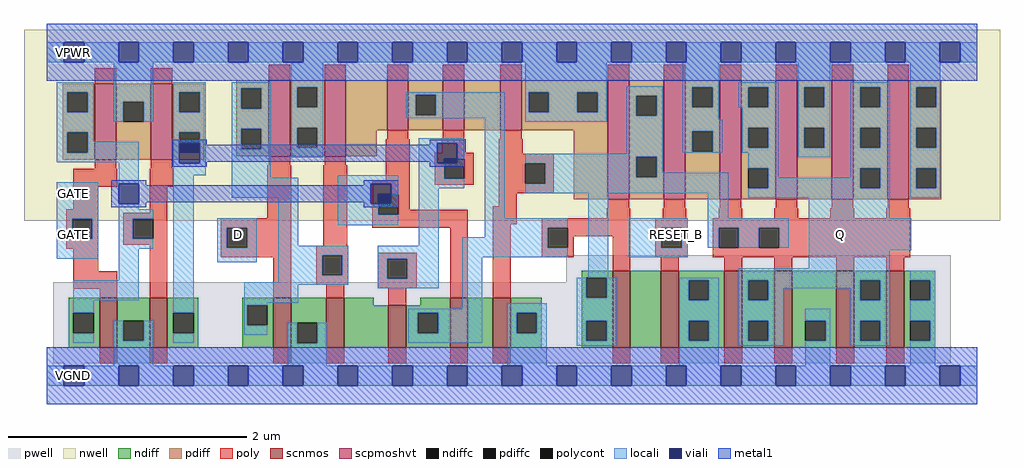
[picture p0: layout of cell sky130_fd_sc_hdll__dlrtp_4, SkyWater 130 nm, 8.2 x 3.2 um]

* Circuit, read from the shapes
.subckt sky130_fd_sc_hdll__dlrtp_4 D GATE RESET_B VGND VNB VPB VPWR Q
XM1 VGND GATE n1 VNB sky130_fd_pr__nfet_01v8 w=0.42 l=0.15
XM2 n2 n1 VGND VNB sky130_fd_pr__nfet_01v8 w=0.42 l=0.15
XM3 VGND D n3 VNB sky130_fd_pr__nfet_01v8 w=0.42 l=0.15
XM4 n4 n3 VGND VNB sky130_fd_pr__nfet_01v8 w=0.42 l=0.15
XM5 n5 n2 n4 VNB sky130_fd_pr__nfet_01v8 w=0.36 l=0.15
XM6 n6 n1 n5 VNB sky130_fd_pr__nfet_01v8 w=0.42 l=0.15
XM7 VGND n7 n6 VNB sky130_fd_pr__nfet_01v8 w=0.42 l=0.15
XM8 n8 n5 n7 VNB sky130_fd_pr__nfet_01v8 w=0.65 l=0.15
XM9 VGND RESET_B n8 VNB sky130_fd_pr__nfet_01v8 w=0.65 l=0.15
XM10 Q n7 VGND VNB sky130_fd_pr__nfet_01v8 w=0.65 l=0.15 m=4
XM11 VPWR GATE n1 VPB sky130_fd_pr__pfet_01v8_hvt w=0.64 l=0.18
XM12 n2 n1 VPWR VPB sky130_fd_pr__pfet_01v8_hvt w=0.64 l=0.18
XM13 VPWR D n3 VPB sky130_fd_pr__pfet_01v8_hvt w=0.64 l=0.18
XM14 n9 n3 VPWR VPB sky130_fd_pr__pfet_01v8_hvt w=0.64 l=0.18
XM15 n5 n1 n9 VPB sky130_fd_pr__pfet_01v8_hvt w=0.42 l=0.18
XM16 n10 n2 n5 VPB sky130_fd_pr__pfet_01v8_hvt w=0.42 l=0.18
XM17 VPWR n7 n10 VPB sky130_fd_pr__pfet_01v8_hvt w=0.42 l=0.18
XM18 n7 n5 VPWR VPB sky130_fd_pr__pfet_01v8_hvt w=1 l=0.18
XM19 VPWR RESET_B n7 VPB sky130_fd_pr__pfet_01v8_hvt w=1 l=0.18
XM20 Q n7 VPWR VPB sky130_fd_pr__pfet_01v8_hvt w=1 l=0.18 m=4
.ends

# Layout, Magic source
magic
tech sky130A
magscale 1 2
<< nwell >>
rect -38 261 1602 582
<< pwell >>
rect 873 157 1519 203
rect 11 21 1519 157
rect 29 -17 63 21
<< scnmos >>
rect 89 47 119 131
rect 173 47 203 131
rect 381 47 411 131
rect 470 47 500 131
rect 574 47 604 119
rect 678 47 708 131
rect 750 47 780 131
rect 951 47 981 177
rect 1032 47 1062 177
rect 1139 47 1169 177
rect 1223 47 1253 177
rect 1327 47 1357 177
rect 1411 47 1441 177
<< scpmoshvt >>
rect 81 363 117 491
rect 175 363 211 491
rect 373 369 409 497
rect 467 369 503 497
rect 572 413 608 497
rect 666 413 702 497
rect 762 413 798 497
rect 943 297 979 497
rect 1037 297 1073 497
rect 1131 297 1167 497
rect 1225 297 1261 497
rect 1319 297 1355 497
rect 1413 297 1449 497
<< ndiff >>
rect 37 106 89 131
rect 37 72 45 106
rect 79 72 89 106
rect 37 47 89 72
rect 119 93 173 131
rect 119 59 129 93
rect 163 59 173 93
rect 119 47 173 59
rect 203 106 255 131
rect 203 72 213 106
rect 247 72 255 106
rect 203 47 255 72
rect 329 119 381 131
rect 329 85 337 119
rect 371 85 381 119
rect 329 47 381 85
rect 411 89 470 131
rect 411 55 421 89
rect 455 55 470 89
rect 411 47 470 55
rect 500 119 550 131
rect 899 165 951 177
rect 899 131 907 165
rect 941 131 951 165
rect 628 119 678 131
rect 500 47 574 119
rect 604 106 678 119
rect 604 72 624 106
rect 658 72 678 106
rect 604 47 678 72
rect 708 47 750 131
rect 780 106 832 131
rect 780 72 790 106
rect 824 72 832 106
rect 780 47 832 72
rect 899 93 951 131
rect 899 59 907 93
rect 941 59 951 93
rect 899 47 951 59
rect 981 47 1032 177
rect 1062 161 1139 177
rect 1062 127 1079 161
rect 1113 127 1139 161
rect 1062 93 1139 127
rect 1062 59 1079 93
rect 1113 59 1139 93
rect 1062 47 1139 59
rect 1169 161 1223 177
rect 1169 127 1179 161
rect 1213 127 1223 161
rect 1169 93 1223 127
rect 1169 59 1179 93
rect 1213 59 1223 93
rect 1169 47 1223 59
rect 1253 93 1327 177
rect 1253 59 1275 93
rect 1309 59 1327 93
rect 1253 47 1327 59
rect 1357 161 1411 177
rect 1357 127 1367 161
rect 1401 127 1411 161
rect 1357 93 1411 127
rect 1357 59 1367 93
rect 1401 59 1411 93
rect 1357 47 1411 59
rect 1441 161 1493 177
rect 1441 127 1451 161
rect 1485 127 1493 161
rect 1441 93 1493 127
rect 1441 59 1451 93
rect 1485 59 1493 93
rect 1441 47 1493 59
<< pdiff >>
rect 27 477 81 491
rect 27 443 35 477
rect 69 443 81 477
rect 27 409 81 443
rect 27 375 35 409
rect 69 375 81 409
rect 27 363 81 375
rect 117 461 175 491
rect 117 427 129 461
rect 163 427 175 461
rect 117 363 175 427
rect 211 477 265 491
rect 211 443 223 477
rect 257 443 265 477
rect 211 409 265 443
rect 211 375 223 409
rect 257 375 265 409
rect 211 363 265 375
rect 319 483 373 497
rect 319 449 327 483
rect 361 449 373 483
rect 319 415 373 449
rect 319 381 327 415
rect 361 381 373 415
rect 319 369 373 381
rect 409 485 467 497
rect 409 451 421 485
rect 455 451 467 485
rect 409 417 467 451
rect 409 383 421 417
rect 455 383 467 417
rect 409 369 467 383
rect 503 413 572 497
rect 608 472 666 497
rect 608 438 620 472
rect 654 438 666 472
rect 608 413 666 438
rect 702 413 762 497
rect 798 477 943 497
rect 798 443 810 477
rect 844 443 892 477
rect 926 443 943 477
rect 798 413 943 443
rect 503 369 555 413
rect 886 297 943 413
rect 979 471 1037 497
rect 979 437 991 471
rect 1025 437 1037 471
rect 979 368 1037 437
rect 979 334 991 368
rect 1025 334 1037 368
rect 979 297 1037 334
rect 1073 485 1131 497
rect 1073 451 1085 485
rect 1119 451 1131 485
rect 1073 411 1131 451
rect 1073 377 1085 411
rect 1119 377 1131 411
rect 1073 297 1131 377
rect 1167 485 1225 497
rect 1167 451 1179 485
rect 1213 451 1225 485
rect 1167 417 1225 451
rect 1167 383 1179 417
rect 1213 383 1225 417
rect 1167 349 1225 383
rect 1167 315 1179 349
rect 1213 315 1225 349
rect 1167 297 1225 315
rect 1261 485 1319 497
rect 1261 451 1273 485
rect 1307 451 1319 485
rect 1261 417 1319 451
rect 1261 383 1273 417
rect 1307 383 1319 417
rect 1261 297 1319 383
rect 1355 485 1413 497
rect 1355 451 1367 485
rect 1401 451 1413 485
rect 1355 417 1413 451
rect 1355 383 1367 417
rect 1401 383 1413 417
rect 1355 349 1413 383
rect 1355 315 1367 349
rect 1401 315 1413 349
rect 1355 297 1413 315
rect 1449 485 1503 497
rect 1449 451 1461 485
rect 1495 451 1503 485
rect 1449 417 1503 451
rect 1449 383 1461 417
rect 1495 383 1503 417
rect 1449 349 1503 383
rect 1449 315 1461 349
rect 1495 315 1503 349
rect 1449 297 1503 315
<< ndiffc >>
rect 45 72 79 106
rect 129 59 163 93
rect 213 72 247 106
rect 337 85 371 119
rect 421 55 455 89
rect 907 131 941 165
rect 624 72 658 106
rect 790 72 824 106
rect 907 59 941 93
rect 1079 127 1113 161
rect 1079 59 1113 93
rect 1179 127 1213 161
rect 1179 59 1213 93
rect 1275 59 1309 93
rect 1367 127 1401 161
rect 1367 59 1401 93
rect 1451 127 1485 161
rect 1451 59 1485 93
<< pdiffc >>
rect 35 443 69 477
rect 35 375 69 409
rect 129 427 163 461
rect 223 443 257 477
rect 223 375 257 409
rect 327 449 361 483
rect 327 381 361 415
rect 421 451 455 485
rect 421 383 455 417
rect 620 438 654 472
rect 810 443 844 477
rect 892 443 926 477
rect 991 437 1025 471
rect 991 334 1025 368
rect 1085 451 1119 485
rect 1085 377 1119 411
rect 1179 451 1213 485
rect 1179 383 1213 417
rect 1179 315 1213 349
rect 1273 451 1307 485
rect 1273 383 1307 417
rect 1367 451 1401 485
rect 1367 383 1401 417
rect 1367 315 1401 349
rect 1461 451 1495 485
rect 1461 383 1495 417
rect 1461 315 1495 349
<< poly >>
rect 81 491 117 517
rect 175 491 211 517
rect 373 497 409 523
rect 467 497 503 523
rect 572 497 608 523
rect 666 497 702 523
rect 762 497 798 523
rect 943 497 979 523
rect 1037 497 1073 523
rect 1131 497 1167 523
rect 1225 497 1261 523
rect 1319 497 1355 523
rect 1413 497 1449 523
rect 572 398 608 413
rect 666 398 702 413
rect 762 398 798 413
rect 81 348 117 363
rect 175 348 211 363
rect 373 354 409 369
rect 467 354 503 369
rect 45 318 119 348
rect 173 318 213 348
rect 45 280 87 318
rect 33 264 87 280
rect 173 274 203 318
rect 33 230 43 264
rect 77 230 87 264
rect 33 214 87 230
rect 129 264 203 274
rect 371 265 411 354
rect 129 230 145 264
rect 179 230 203 264
rect 129 220 203 230
rect 45 176 87 214
rect 45 146 119 176
rect 89 131 119 146
rect 173 131 203 220
rect 293 249 411 265
rect 293 215 303 249
rect 337 215 411 249
rect 465 219 505 354
rect 570 327 610 398
rect 664 375 704 398
rect 547 305 610 327
rect 652 365 718 375
rect 652 331 668 365
rect 702 331 718 365
rect 652 321 718 331
rect 760 373 800 398
rect 760 357 852 373
rect 760 323 804 357
rect 838 323 852 357
rect 547 271 557 305
rect 591 279 610 305
rect 760 307 852 323
rect 760 285 790 307
rect 591 271 708 279
rect 547 249 708 271
rect 293 199 411 215
rect 381 131 411 199
rect 453 203 507 219
rect 453 169 463 203
rect 497 169 507 203
rect 453 153 507 169
rect 556 197 622 207
rect 556 163 572 197
rect 606 163 622 197
rect 470 131 500 153
rect 556 147 622 163
rect 574 119 604 147
rect 678 131 708 249
rect 750 255 790 285
rect 943 282 979 297
rect 1037 282 1073 297
rect 1131 282 1167 297
rect 1225 282 1261 297
rect 1319 282 1355 297
rect 1413 282 1449 297
rect 941 265 981 282
rect 1035 265 1075 282
rect 1129 265 1169 282
rect 1223 265 1263 282
rect 1317 265 1357 282
rect 1411 265 1451 282
rect 750 131 780 255
rect 832 249 981 265
rect 832 215 842 249
rect 876 235 981 249
rect 876 215 886 235
rect 832 199 886 215
rect 951 177 981 235
rect 1023 249 1077 265
rect 1023 215 1033 249
rect 1067 215 1077 249
rect 1023 199 1077 215
rect 1119 249 1451 265
rect 1119 215 1129 249
rect 1163 215 1197 249
rect 1231 215 1451 249
rect 1119 199 1451 215
rect 1032 177 1062 199
rect 1139 177 1169 199
rect 1223 177 1253 199
rect 1327 177 1357 199
rect 1411 177 1441 199
rect 89 21 119 47
rect 173 21 203 47
rect 381 21 411 47
rect 470 21 500 47
rect 574 21 604 47
rect 678 21 708 47
rect 750 21 780 47
rect 951 21 981 47
rect 1032 21 1062 47
rect 1139 21 1169 47
rect 1223 21 1253 47
rect 1327 21 1357 47
rect 1411 21 1441 47
<< polycont >>
rect 43 230 77 264
rect 145 230 179 264
rect 303 215 337 249
rect 668 331 702 365
rect 804 323 838 357
rect 557 271 591 305
rect 463 169 497 203
rect 572 163 606 197
rect 842 215 876 249
rect 1033 215 1067 249
rect 1129 215 1163 249
rect 1197 215 1231 249
<< locali >>
rect 0 527 29 561
rect 63 527 121 561
rect 155 527 213 561
rect 247 527 305 561
rect 339 527 397 561
rect 431 527 489 561
rect 523 527 581 561
rect 615 527 673 561
rect 707 527 765 561
rect 799 527 857 561
rect 891 527 949 561
rect 983 527 1041 561
rect 1075 527 1133 561
rect 1167 527 1225 561
rect 1259 527 1317 561
rect 1351 527 1409 561
rect 1443 527 1501 561
rect 1535 527 1564 561
rect 17 477 79 493
rect 17 443 35 477
rect 69 443 79 477
rect 17 409 79 443
rect 113 461 179 527
rect 113 427 129 461
rect 163 427 179 461
rect 213 477 267 493
rect 213 443 223 477
rect 257 443 267 477
rect 17 375 35 409
rect 69 393 79 409
rect 213 409 267 443
rect 69 375 155 393
rect 17 359 155 375
rect 17 264 87 325
rect 17 230 43 264
rect 77 230 87 264
rect 17 197 87 230
rect 121 323 155 359
rect 121 280 155 289
rect 213 357 223 409
rect 257 357 267 409
rect 213 337 267 357
rect 311 483 377 493
rect 311 449 327 483
rect 361 449 377 483
rect 311 415 377 449
rect 311 381 327 415
rect 361 381 377 415
rect 121 264 179 280
rect 121 230 145 264
rect 121 214 179 230
rect 121 161 155 214
rect 45 127 155 161
rect 45 106 79 127
rect 213 106 247 337
rect 311 333 377 381
rect 411 485 465 527
rect 411 451 421 485
rect 455 451 465 485
rect 804 477 941 527
rect 411 417 465 451
rect 604 472 770 477
rect 604 438 620 472
rect 654 438 770 472
rect 604 433 770 438
rect 411 383 421 417
rect 455 383 465 417
rect 411 367 465 383
rect 625 391 702 399
rect 625 357 656 391
rect 690 365 702 391
rect 311 299 423 333
rect 287 249 353 265
rect 287 215 303 249
rect 337 215 353 249
rect 287 191 353 215
rect 389 219 423 299
rect 489 323 591 337
rect 489 289 545 323
rect 579 305 591 323
rect 489 271 557 289
rect 489 253 591 271
rect 625 331 668 357
rect 625 315 702 331
rect 625 219 659 315
rect 736 265 770 433
rect 804 443 810 477
rect 844 443 892 477
rect 926 443 941 477
rect 804 427 941 443
rect 975 471 1035 487
rect 975 437 991 471
rect 1025 437 1035 471
rect 975 373 1035 437
rect 1069 485 1129 527
rect 1069 451 1085 485
rect 1119 451 1129 485
rect 1163 485 1229 493
rect 1163 451 1179 485
rect 1213 451 1229 485
rect 1069 430 1129 451
rect 1069 411 1135 430
rect 1069 377 1085 411
rect 1119 377 1135 411
rect 1069 375 1135 377
rect 1169 417 1229 451
rect 1169 383 1179 417
rect 1213 383 1229 417
rect 1169 375 1229 383
rect 804 368 1035 373
rect 804 357 991 368
rect 838 334 991 357
rect 1025 341 1035 368
rect 1179 349 1229 375
rect 1263 485 1317 527
rect 1263 451 1273 485
rect 1307 451 1317 485
rect 1263 417 1317 451
rect 1263 383 1273 417
rect 1307 383 1317 417
rect 1263 367 1317 383
rect 1351 485 1417 493
rect 1351 451 1367 485
rect 1401 451 1417 485
rect 1351 417 1417 451
rect 1351 383 1367 417
rect 1401 383 1417 417
rect 1025 334 1145 341
rect 838 323 1145 334
rect 804 307 1145 323
rect 736 249 876 265
rect 736 233 842 249
rect 389 203 507 219
rect 389 169 463 203
rect 497 169 507 203
rect 389 157 507 169
rect 45 56 79 72
rect 113 59 129 93
rect 163 59 179 93
rect 113 17 179 59
rect 213 56 247 72
rect 332 153 507 157
rect 556 197 659 219
rect 556 163 572 197
rect 606 163 659 197
rect 332 123 423 153
rect 556 147 659 163
rect 698 215 842 233
rect 698 199 876 215
rect 332 119 371 123
rect 332 85 337 119
rect 698 113 732 199
rect 910 165 944 307
rect 1111 265 1145 307
rect 1213 333 1229 349
rect 1351 349 1417 383
rect 1351 333 1367 349
rect 1213 315 1367 333
rect 1401 315 1417 349
rect 1179 299 1417 315
rect 1451 485 1502 527
rect 1451 451 1461 485
rect 1495 451 1502 485
rect 1451 417 1502 451
rect 1451 383 1461 417
rect 1495 383 1502 417
rect 1451 349 1502 383
rect 1451 315 1461 349
rect 1495 315 1502 349
rect 1451 299 1502 315
rect 1281 265 1417 299
rect 978 249 1077 265
rect 978 215 1033 249
rect 1067 215 1077 249
rect 1111 249 1247 265
rect 1111 215 1129 249
rect 1163 215 1197 249
rect 1231 215 1247 249
rect 978 199 1077 215
rect 1281 211 1453 265
rect 1281 181 1417 211
rect 891 131 907 165
rect 941 131 957 165
rect 608 106 732 113
rect 332 69 371 85
rect 405 55 421 89
rect 455 55 471 89
rect 608 72 624 106
rect 658 72 732 106
rect 608 56 732 72
rect 774 106 840 122
rect 774 72 790 106
rect 824 72 840 106
rect 405 17 471 55
rect 774 17 840 72
rect 891 93 957 131
rect 891 59 907 93
rect 941 59 957 93
rect 891 51 957 59
rect 1063 161 1129 165
rect 1063 127 1079 161
rect 1113 127 1129 161
rect 1063 93 1129 127
rect 1063 59 1079 93
rect 1113 59 1129 93
rect 1063 17 1129 59
rect 1163 161 1417 181
rect 1163 127 1179 161
rect 1213 147 1367 161
rect 1213 127 1239 147
rect 1163 93 1239 127
rect 1351 127 1367 147
rect 1401 127 1417 161
rect 1163 59 1179 93
rect 1213 59 1239 93
rect 1163 51 1239 59
rect 1275 93 1317 113
rect 1309 59 1317 93
rect 1275 17 1317 59
rect 1351 93 1417 127
rect 1351 59 1367 93
rect 1401 59 1417 93
rect 1351 51 1417 59
rect 1451 161 1493 177
rect 1485 127 1493 161
rect 1451 93 1493 127
rect 1485 59 1493 93
rect 1451 17 1493 59
rect 0 -17 29 17
rect 63 -17 121 17
rect 155 -17 213 17
rect 247 -17 305 17
rect 339 -17 397 17
rect 431 -17 489 17
rect 523 -17 581 17
rect 615 -17 673 17
rect 707 -17 765 17
rect 799 -17 857 17
rect 891 -17 949 17
rect 983 -17 1041 17
rect 1075 -17 1133 17
rect 1167 -17 1225 17
rect 1259 -17 1317 17
rect 1351 -17 1409 17
rect 1443 -17 1501 17
rect 1535 -17 1564 17
<< viali >>
rect 29 527 63 561
rect 121 527 155 561
rect 213 527 247 561
rect 305 527 339 561
rect 397 527 431 561
rect 489 527 523 561
rect 581 527 615 561
rect 673 527 707 561
rect 765 527 799 561
rect 857 527 891 561
rect 949 527 983 561
rect 1041 527 1075 561
rect 1133 527 1167 561
rect 1225 527 1259 561
rect 1317 527 1351 561
rect 1409 527 1443 561
rect 1501 527 1535 561
rect 121 289 155 323
rect 223 375 257 391
rect 223 357 257 375
rect 656 365 690 391
rect 656 357 668 365
rect 668 357 690 365
rect 545 305 579 323
rect 545 289 557 305
rect 557 289 579 305
rect 29 -17 63 17
rect 121 -17 155 17
rect 213 -17 247 17
rect 305 -17 339 17
rect 397 -17 431 17
rect 489 -17 523 17
rect 581 -17 615 17
rect 673 -17 707 17
rect 765 -17 799 17
rect 857 -17 891 17
rect 949 -17 983 17
rect 1041 -17 1075 17
rect 1133 -17 1167 17
rect 1225 -17 1259 17
rect 1317 -17 1351 17
rect 1409 -17 1443 17
rect 1501 -17 1535 17
<< metal1 >>
rect 0 561 1564 592
rect 0 527 29 561
rect 63 527 121 561
rect 155 527 213 561
rect 247 527 305 561
rect 339 527 397 561
rect 431 527 489 561
rect 523 527 581 561
rect 615 527 673 561
rect 707 527 765 561
rect 799 527 857 561
rect 891 527 949 561
rect 983 527 1041 561
rect 1075 527 1133 561
rect 1167 527 1225 561
rect 1259 527 1317 561
rect 1351 527 1409 561
rect 1443 527 1501 561
rect 1535 527 1564 561
rect 0 496 1564 527
rect 211 391 269 397
rect 211 357 223 391
rect 257 388 269 391
rect 644 391 702 397
rect 644 388 656 391
rect 257 360 656 388
rect 257 357 269 360
rect 211 351 269 357
rect 644 357 656 360
rect 690 357 702 391
rect 644 351 702 357
rect 109 323 167 329
rect 109 289 121 323
rect 155 320 167 323
rect 533 323 591 329
rect 533 320 545 323
rect 155 292 545 320
rect 155 289 167 292
rect 109 283 167 289
rect 533 289 545 292
rect 579 289 591 323
rect 533 283 591 289
rect 0 17 1564 48
rect 0 -17 29 17
rect 63 -17 121 17
rect 155 -17 213 17
rect 247 -17 305 17
rect 339 -17 397 17
rect 431 -17 489 17
rect 523 -17 581 17
rect 615 -17 673 17
rect 707 -17 765 17
rect 799 -17 857 17
rect 891 -17 949 17
rect 983 -17 1041 17
rect 1075 -17 1133 17
rect 1167 -17 1225 17
rect 1259 -17 1317 17
rect 1351 -17 1409 17
rect 1443 -17 1501 17
rect 1535 -17 1564 17
rect 0 -48 1564 -17
<< labels >>
flabel locali s 1041 221 1075 255 0 FreeSans 200 0 0 0 RESET_B
port 3 nsew signal input
flabel locali s 305 221 339 255 0 FreeSans 200 0 0 0 D
port 1 nsew signal input
flabel locali s 29 221 63 255 0 FreeSans 200 0 0 0 GATE
port 2 nsew signal input
flabel locali s 29 289 63 323 0 FreeSans 200 0 0 0 GATE
port 2 nsew signal input
flabel locali s 1317 221 1351 255 0 FreeSans 200 0 0 0 Q
port 8 nsew signal output
flabel metal1 s 29 -17 63 17 0 FreeSans 200 0 0 0 VGND
port 4 nsew ground bidirectional
flabel metal1 s 29 527 63 561 0 FreeSans 200 0 0 0 VPWR
port 7 nsew power bidirectional
flabel nwell s 29 527 63 561 0 FreeSans 200 0 0 0 VPB
port 6 nsew power bidirectional
flabel nwell s 46 544 46 544 0 FreeSans 200 0 0 0 VPB
port 6 nsew
flabel pwell s 29 -17 63 17 0 FreeSans 200 0 0 0 VNB
port 5 nsew ground bidirectional
flabel pwell s 46 0 46 0 0 FreeSans 200 0 0 0 VNB
port 5 nsew
rlabel comment s 0 0 0 0 4 dlrtp_4
<< properties >>
string LEFsite unithd
string LEFclass CORE
string FIXED_BBOX 0 0 1564 544
string GDS_FILE $PDKPATH/libs.ref/sky130_fd_sc_hdll/gds/sky130_fd_sc_hdll.gds
string LEFsymmetry X Y R90
string GDS_END 785302
string GDS_START 772296
string LEFproperties maskLayoutSubType "abstract" prCellType "standard" originalViewName "layout"
string path 0.000 0.000 39.100 0.000 
<< end >>
